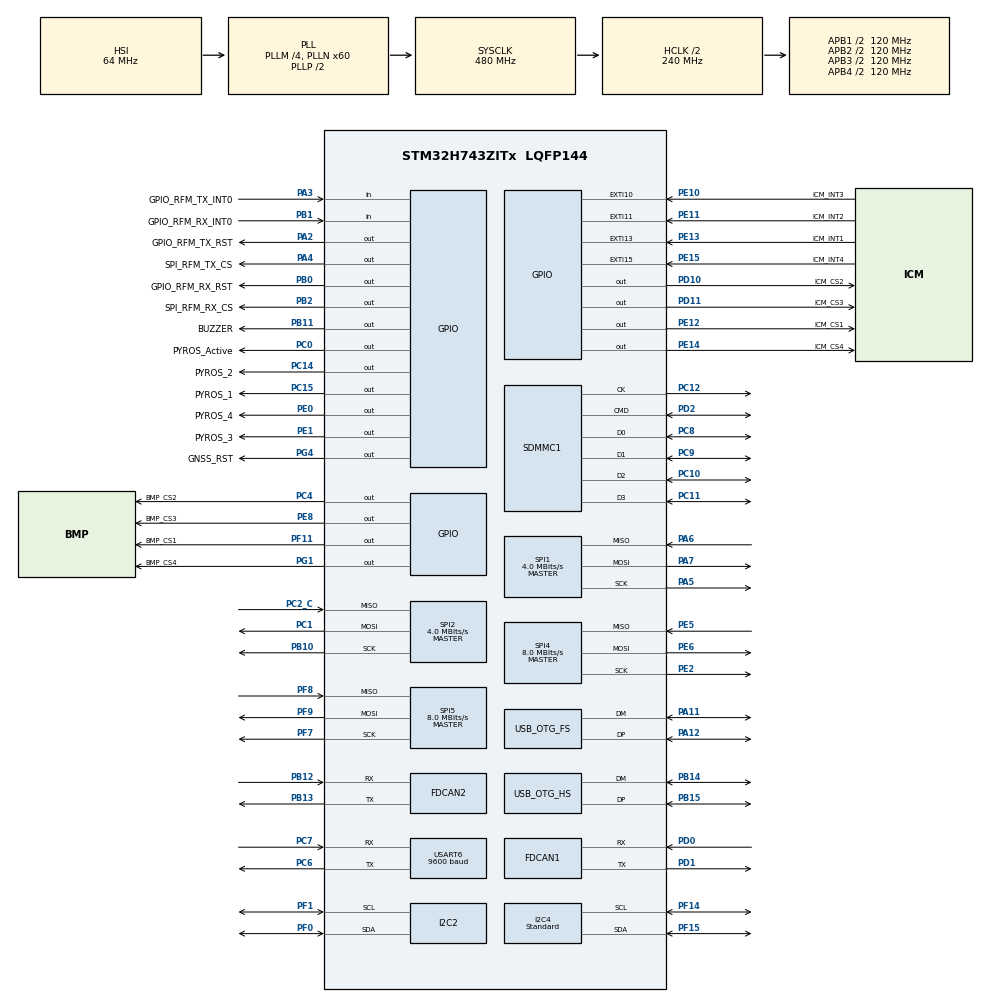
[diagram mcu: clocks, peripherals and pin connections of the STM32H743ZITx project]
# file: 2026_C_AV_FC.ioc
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CORTEX_M7.default_mode_Activation=1
FDCAN1.CalculateBaudRateNominal=500000
FDCAN1.CalculateTimeBitNominal=2000
FDCAN1.CalculateTimeQuantumNominal=62.5
FDCAN1.NominalPrescaler=1
FDCAN1.NominalTimeSeg1=23
FDCAN1.NominalTimeSeg2=8
FDCAN1.RxFifo0ElmtsNbr=16
FDCAN1.StdFiltersNbr=1
FDCAN1.TxFifoQueueElmtsNbr=32
FDCAN2.AutoRetransmission=ENABLE
FDCAN2.CalculateBaudRateNominal=500000
FDCAN2.CalculateTimeBitNominal=2000
FDCAN2.CalculateTimeQuantumNominal=125.0
FDCAN2.DataPrescaler=1
FDCAN2.DataSyncJumpWidth=1
FDCAN2.DataTimeSeg1=1
FDCAN2.DataTimeSeg2=1
FDCAN2.NominalPrescaler=2
FDCAN2.NominalSyncJumpWidth=3
FDCAN2.NominalTimeSeg1=12
FDCAN2.NominalTimeSeg2=3
FDCAN2.ProtocolException=ENABLE
FDCAN2.RxFifo0ElmtsNbr=8
FDCAN2.TxFifoQueueElmtsNbr=8
I2C2.Timing=0x307075B1
I2C4.I2C_Speed_Mode=I2C_Standard
I2C4.Timing=0x307075B1
Mcu.Family=STM32H7
Mcu.Name=STM32H743ZITx
Mcu.Package=LQFP144
NVIC.EXTI15_10_IRQn=true\:5\:0\:true\:false\:true\:true\:true\:true
NVIC.OTG_FS_IRQn=true\:0\:0\:false\:false\:true\:false\:true\:true
NVIC.OTG_HS_IRQn=true\:0\:0\:false\:false\:true\:false\:true\:true
NVIC.PriorityGroup=NVIC_PRIORITYGROUP_4
PA11.Mode=Device_Only
PA11.Signal=USB_OTG_FS_DM
PA12.Mode=Device_Only
PA12.Signal=USB_OTG_FS_DP
PA13\ (JTMS/SWDIO).Mode=Serial_Wire
PA13\ (JTMS/SWDIO).Signal=DEBUG_JTMS-SWDIO
PA14\ (JTCK/SWCLK).Mode=Serial_Wire
PA14\ (JTCK/SWCLK).Signal=DEBUG_JTCK-SWCLK
PA2.GPIO_Label=GPIO_RFM_TX_RST
PA2.PinState=GPIO_PIN_SET
PA2.Signal=GPIO_Output
PA3.GPIO_Label=GPIO_RFM_TX_INT0
PA3.Signal=GPIO_Input
PA4.GPIO_Label=SPI_RFM_TX_CS
PA4.PinState=GPIO_PIN_SET
PA4.Signal=GPIO_Output
PA5.Mode=Full_Duplex_Master
PA5.Signal=SPI1_SCK
PA6.Mode=Full_Duplex_Master
PA6.Signal=SPI1_MISO
PA7.Mode=Full_Duplex_Master
PA7.Signal=SPI1_MOSI
PB0.GPIO_Label=GPIO_RFM_RX_RST
PB0.PinState=GPIO_PIN_SET
PB0.Signal=GPIO_Output
PB1.GPIO_Label=GPIO_RFM_RX_INT0
PB1.Signal=GPIO_Input
PB10.Mode=Full_Duplex_Master
PB10.Signal=SPI2_SCK
PB11.GPIO_Label=BUZZER
PB11.Signal=GPIO_Output
PB12.Mode=FDCAN_Activate
PB12.Signal=FDCAN2_RX
PB13.Mode=FDCAN_Activate
PB13.Signal=FDCAN2_TX
PB14.Mode=Device_Only_FS
PB14.Signal=USB_OTG_HS_DM
PB15.Mode=Device_Only_FS
PB15.Signal=USB_OTG_HS_DP
PB2.GPIO_Label=SPI_RFM_RX_CS
PB2.PinState=GPIO_PIN_SET
PB2.Signal=GPIO_Output
PC0.GPIO_Label=PYROS_Active
PC0.GPIO_ModeDefaultOutputPP=GPIO_MODE_OUTPUT_PP
PC0.GPIO_PuPd=GPIO_PULLDOWN
PC0.Signal=GPIO_Output
PC1.Mode=Full_Duplex_Master
PC1.Signal=SPI2_MOSI
PC10.Mode=SD_4_bits_Wide_bus
PC10.Signal=SDMMC1_D2
PC11.Mode=SD_4_bits_Wide_bus
PC11.Signal=SDMMC1_D3
PC12.Mode=SD_4_bits_Wide_bus
PC12.Signal=SDMMC1_CK
PC14-OSC32_IN\ (OSC32_IN).GPIO_Label=PYROS_2
PC14-OSC32_IN\ (OSC32_IN).Signal=GPIO_Output
PC15-OSC32_OUT\ (OSC32_OUT).GPIO_Label=PYROS_1
PC15-OSC32_OUT\ (OSC32_OUT).Signal=GPIO_Output
PC2_C.Mode=Full_Duplex_Master
PC2_C.Signal=SPI2_MISO
PC4.GPIO_Label=BMP_CS2
PC4.PinState=GPIO_PIN_SET
PC4.Signal=GPIO_Output
PC6.Mode=Asynchronous
PC6.Signal=USART6_TX
PC7.Mode=Asynchronous
PC7.Signal=USART6_RX
PC8.Mode=SD_4_bits_Wide_bus
PC8.Signal=SDMMC1_D0
PC9.Mode=SD_4_bits_Wide_bus
PC9.Signal=SDMMC1_D1
PD0.Mode=FDCAN_Activate
PD0.Signal=FDCAN1_RX
PD1.Mode=FDCAN_Activate
PD1.Signal=FDCAN1_TX
PD10.GPIO_Label=ICM_CS2
PD10.PinState=GPIO_PIN_SET
PD10.Signal=GPIO_Output
PD11.GPIO_Label=ICM_CS3
PD11.PinState=GPIO_PIN_SET
PD11.Signal=GPIO_Output
PD2.Mode=SD_4_bits_Wide_bus
PD2.Signal=SDMMC1_CMD
PE0.GPIO_Label=PYROS_4
PE0.Signal=GPIO_Output
PE1.GPIO_Label=PYROS_3
PE1.Signal=GPIO_Output
PE10.GPIO_Label=ICM_INT3
PE10.Signal=GPXTI10
PE11.GPIO_Label=ICM_INT2
PE11.Signal=GPXTI11
PE12.GPIO_Label=ICM_CS1
PE12.PinState=GPIO_PIN_SET
PE12.Signal=GPIO_Output
PE13.GPIO_Label=ICM_INT1
PE13.Signal=GPXTI13
PE14.GPIO_Label=ICM_CS4
PE14.PinState=GPIO_PIN_SET
PE14.Signal=GPIO_Output
PE15.GPIO_Label=ICM_INT4
PE15.Signal=GPXTI15
PE2.Mode=Full_Duplex_Master
PE2.Signal=SPI4_SCK
PE5.Mode=Full_Duplex_Master
PE5.Signal=SPI4_MISO
PE6.Mode=Full_Duplex_Master
PE6.Signal=SPI4_MOSI
PE8.GPIO_Label=BMP_CS3
PE8.PinState=GPIO_PIN_SET
PE8.Signal=GPIO_Output
PF0.Mode=I2C
PF0.Signal=I2C2_SDA
PF1.Mode=I2C
PF1.Signal=I2C2_SCL
PF11.GPIO_Label=BMP_CS1
PF11.PinState=GPIO_PIN_SET
PF11.Signal=GPIO_Output
PF14.Mode=I2C
PF14.Signal=I2C4_SCL
PF15.Mode=I2C
PF15.Signal=I2C4_SDA
PF7.Mode=Full_Duplex_Master
PF7.Signal=SPI5_SCK
PF8.Mode=Full_Duplex_Master
PF8.Signal=SPI5_MISO
PF9.Mode=Full_Duplex_Master
PF9.Signal=SPI5_MOSI
PG1.GPIO_Label=BMP_CS4
PG1.PinState=GPIO_PIN_SET
PG1.Signal=GPIO_Output
PG4.GPIO_Label=GNSS_RST
PG4.PinState=GPIO_PIN_SET
PG4.Signal=GPIO_Output
ProjectManager.HeapSize=0x200
ProjectManager.StackSize=0x400
ProjectManager.TargetToolchain=STM32CubeIDE
RCC.ADCFreq_Value=128000000
RCC.APB1Freq_Value=120000000
RCC.APB2Freq_Value=120000000
RCC.APB3Freq_Value=120000000
RCC.APB4Freq_Value=120000000
RCC.CortexFreq_Value=480000000
RCC.D1PPRE=RCC_APB3_DIV2
RCC.D2PPRE1=RCC_APB1_DIV2
RCC.D2PPRE2=RCC_APB2_DIV2
RCC.D3PPRE=RCC_APB4_DIV2
RCC.DIVM1=4
RCC.DIVN1=60
RCC.DIVN2=128
RCC.DIVQ2=16
RCC.FDCANCLockSelection=RCC_FDCANCLKSOURCE_PLL2
RCC.HCLKFreq_Value=240000000
RCC.HPRE=RCC_HCLK_DIV2
RCC.PLL2FRACN=0
RCC.PLL3FRACN=0
RCC.PLLFRACN=0
RCC.SDMMC1CLockSelection=RCC_SDMMCCLKSOURCE_PLL2
RCC.SPI123CLockSelection=RCC_SPI123CLKSOURCE_CLKP
RCC.SYSCLKFreq_VALUE=480000000
RCC.SYSCLKSource=RCC_SYSCLKSOURCE_PLLCLK
RCC.Spi45ClockSelection=RCC_SPI45CLKSOURCE_HSI
RCC.USBCLockSelection=RCC_USBCLKSOURCE_HSI48
RCC.USBFreq_Value=48000000
SDMMC1.ClockDiv=4
SPI1.BaudRatePrescaler=SPI_BAUDRATEPRESCALER_16
SPI1.CalculateBaudRate=4.0 MBits/s
SPI1.DataSize=SPI_DATASIZE_8BIT
SPI1.Direction=SPI_DIRECTION_2LINES
SPI1.Mode=SPI_MODE_MASTER
SPI1.VirtualType=VM_MASTER
SPI2.BaudRatePrescaler=SPI_BAUDRATEPRESCALER_16
SPI2.CalculateBaudRate=4.0 MBits/s
SPI2.DataSize=SPI_DATASIZE_8BIT
SPI2.Direction=SPI_DIRECTION_2LINES
SPI2.Mode=SPI_MODE_MASTER
SPI2.VirtualType=VM_MASTER
SPI4.BaudRatePrescaler=SPI_BAUDRATEPRESCALER_8
SPI4.CalculateBaudRate=8.0 MBits/s
SPI4.DataSize=SPI_DATASIZE_8BIT
SPI4.Direction=SPI_DIRECTION_2LINES
SPI4.KeepIOState=SPI_MASTER_KEEP_IO_STATE_ENABLE
SPI4.Mode=SPI_MODE_MASTER
SPI4.VirtualType=VM_MASTER
SPI5.BaudRatePrescaler=SPI_BAUDRATEPRESCALER_8
SPI5.CalculateBaudRate=8.0 MBits/s
SPI5.DataSize=SPI_DATASIZE_8BIT
SPI5.Direction=SPI_DIRECTION_2LINES
SPI5.KeepIOState=SPI_MASTER_KEEP_IO_STATE_ENABLE
SPI5.Mode=SPI_MODE_MASTER
SPI5.VirtualType=VM_MASTER
USART6.BaudRate=9600
USART6.VirtualMode-Asynchronous=VM_ASYNC
USB_DEVICE.CLASS_NAME_FS=DFU
USB_DEVICE.CLASS_NAME_HS=CDC
USB_DEVICE.VirtualMode-CDC_HS=Cdc
USB_DEVICE.VirtualMode-DFU_FS=Dfu
USB_DEVICE.VirtualModeFS=Dfu_FS
USB_DEVICE.VirtualModeHS=Cdc_HS
USB_OTG_FS.VirtualMode=Device_Only
USB_OTG_HS.VirtualMode-Device_Only_FS=Device_Only_FS
VP_MEMORYMAP_VS_MEMORYMAP.Mode=CurAppReg
VP_USB_DEVICE_VS_USB_DEVICE_CDC_HS.Mode=CDC_HS
VP_USB_DEVICE_VS_USB_DEVICE_DFU_FS.Mode=DFU_FS
board=custom

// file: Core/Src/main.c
/* USER CODE BEGIN Header */
/**
  ******************************************************************************
  * @file           : main.c
  * @brief          : Main program body
  ******************************************************************************
  * @attention
  *
  * Copyright (c) 2026 STMicroelectronics.
  * All rights reserved.
  *
  * This software is licensed under terms that can be found in the LICENSE file
  * in the root directory of this software component.
  * If no LICENSE file comes with this software, it is provided AS-IS.
  *
  ******************************************************************************
  */
/* USER CODE END Header */
#include "main.h"
#include "usb_device.h"

/* USER CODE BEGIN Includes */
#include "usbd_cdc_if.h"
#include "../../Application/app_perf.h"
#include "../../Drivers/InvIMU/Tests/Hardware/imu_manual_test.h"
#include "../../Drivers/BMP390/Tests/Manual/bmp390_manual_test.h"
#include "../../Drivers/UBX_GPS/Tests/Hardware/gps_manual_test.h"
//#include "../../Drivers/Plume/Tests/Hardware/plume_manual_test.h"
#include "../../Application/Tests/sd_benchmark.h"
#include "../../Drivers/Buzzer/Tests/Hardware/buzzer_manual_test.h"
#include "../../Drivers/SX127X/Tests/Hardware/sx127x_manual_test.h"
#include "../../Drivers/SX127X/Tests/Hardware/sx127x_capsule_manual_test.h"
#include "../../Drivers/TMP1075/Tests/tmp1075_manual_test.h"
#include "../../Drivers/ADXL375/Tests/adxl375_manual_test.h"
#include "../../Application/Modules/sd_hardware_init.h"
#include "../../Application/FlightControl/prc_can.hpp"
#include "../../Application/main.h"
#include "../../Application/app_timebase.h"
#include "../../Application/app_printf.h"
#include "../../Application/usb_log.h"
#include "../../Application/System/bootloader.h"
#include "SX127X.h"
/* USER CODE END Includes */

/* USER CODE BEGIN PD */
/**
 * OUTPUT_LOG: Enables printf output via USB Virtual COM Port (CDC).
 * Comment out this define to disable ALL UART/USB printf output for flight.
 * When disabled, _write() is not defined and printf calls become no-ops
 * (or link to the default stub that discards output).
 */
#define OUTPUT_LOG

/**
 * APP_RADIO_ENABLE: runs simple_radio_tick() (telemetry downlink + uplink
 * commands) in the super loop. The radio driver no longer blocks the loop
 * during a transmission, so it can stay on during IMU acquisition.
 */
#ifndef APP_RADIO_ENABLE
#define APP_RADIO_ENABLE 1
#endif

/*  CAN bus test between 2026_C_AV_PRC and 2026_C_AV_FC (PD0=RX, PD1=TX on both boards).  */
#define CANBUS_TEST_TX_ID   0x101u   /*  FC -> PRC  */
#define CANBUS_TEST_RX_ID   0x100u   /*  PRC -> FC  */
/* USER CODE END PD */

FDCAN_HandleTypeDef hfdcan1;
FDCAN_HandleTypeDef hfdcan2;

I2C_HandleTypeDef hi2c2;
I2C_HandleTypeDef hi2c4;

SD_HandleTypeDef hsd1;

SPI_HandleTypeDef hspi1;
SPI_HandleTypeDef hspi2;
SPI_HandleTypeDef hspi4;
SPI_HandleTypeDef hspi5;

UART_HandleTypeDef huart6;

/* USER CODE BEGIN PV */
//static uint8_t flag = 0;
volatile static uint32_t status = 0;
//static uint8_t tab[255];
//static uint8_t addr = 0x08;
/* USER CODE END PV */

void SystemClock_Config(void);
void PeriphCommonClock_Config(void);
static void MPU_Config(void);
static void MX_GPIO_Init(void);
static void MX_SPI4_Init(void);
static void MX_SPI5_Init(void);
static void MX_USART6_UART_Init(void);
static void MX_SDMMC1_SD_Init(void);
static void MX_SPI2_Init(void);
static void MX_SPI1_Init(void);
static void MX_I2C4_Init(void);
static void MX_I2C2_Init(void);
static void MX_FDCAN1_Init(void);
static void MX_FDCAN2_Init(void);

/* USER CODE BEGIN 0 */
/* DMA audit for this board: SDMMC IDMA uses ONLY the first 32 KiB AXI bounce
 * region; GPS DMA1 uses the dedicated SRAM3 carve-out; USB DMA and SPI DMA
 * are disabled. The SD arena is CPU-only (copied into the IDMA bounce buffer).
 * Linker assertions pin the SD carve-out, so layout drift is a build error. */
static void board_configure_data_cache(void)
{
#if APP_ENABLE_DCACHE
  MPU_Region_InitTypeDef region = {0};
  HAL_MPU_Disable();
  region.Enable = MPU_REGION_ENABLE;
  region.Number = MPU_REGION_NUMBER1;
  region.BaseAddress = 0x24000000;
  region.Size = MPU_REGION_SIZE_512KB;
  region.AccessPermission = MPU_REGION_FULL_ACCESS;
  region.DisableExec = MPU_INSTRUCTION_ACCESS_DISABLE;
  region.TypeExtField = MPU_TEX_LEVEL1;
  region.IsShareable = MPU_ACCESS_NOT_SHAREABLE;
  region.IsCacheable = MPU_ACCESS_CACHEABLE;
  region.IsBufferable = MPU_ACCESS_BUFFERABLE;
  HAL_MPU_ConfigRegion(&region);

  /* Higher-numbered regions override the cached AXI region. TEX=1,C=B=0
   * is normal non-cacheable memory (not device memory: memcpy may unalign). */
  region.Number = MPU_REGION_NUMBER2;
  region.Size = MPU_REGION_SIZE_32KB;
  region.IsShareable = MPU_ACCESS_SHAREABLE;
  region.IsCacheable = MPU_ACCESS_NOT_CACHEABLE;
  region.IsBufferable = MPU_ACCESS_NOT_BUFFERABLE;
  HAL_MPU_ConfigRegion(&region);
  region.Number = MPU_REGION_NUMBER3;
  region.BaseAddress = 0x30000000;
#if APP_CACHE_SD_ARENA
  region.Size = MPU_REGION_SIZE_256KB;
  region.IsShareable = MPU_ACCESS_NOT_SHAREABLE;
  region.IsCacheable = MPU_ACCESS_CACHEABLE;
  region.IsBufferable = MPU_ACCESS_BUFFERABLE;
#else
  region.Size = MPU_REGION_SIZE_512KB;
#endif
  HAL_MPU_ConfigRegion(&region);
  /* GPS is the only DMA client in D2. Reserve all SRAM3 for non-cacheable
   * buffers, separate from the CPU-owned SD arena in SRAM1/2. */
  region.Number = MPU_REGION_NUMBER4;
  region.BaseAddress = 0x30040000;
  region.Size = MPU_REGION_SIZE_32KB;
  region.IsShareable = MPU_ACCESS_SHAREABLE;
  region.IsCacheable = MPU_ACCESS_NOT_CACHEABLE;
  region.IsBufferable = MPU_ACCESS_NOT_BUFFERABLE;
  HAL_MPU_ConfigRegion(&region);
  HAL_MPU_Enable(MPU_PRIVILEGED_DEFAULT);
  SCB_EnableDCache();
#endif
}

#ifdef OUTPUT_LOG
extern USBD_HandleTypeDef hUsbDeviceHS;

// USB output rules, HAL free in Application/usb_log.h: only to a configured
// host, at most 5 ms on a busy endpoint, then stalled and counting drops
// until USB_Log_ClearStall() (usbd_cdc_if.c: transfer complete, bytes
// received, new configuration). The next write that goes out first reports
// "[USB] dropped N lines". Logging must never stall the flight loop.
static UsbLog usb_log;

void USB_Log_ClearStall(void) {
    usb_log_clear_stall(&usb_log);
}

static int usb_log_transmit(const uint8_t *data, uint16_t length) {
    return CDC_Transmit_HS((uint8_t *)data, length) == USBD_BUSY;
}

int _write(int file, char *ptr, int len) {
    if (!app_printf_is_enabled()) return len;
    usb_log_write(&usb_log, ptr, len, hUsbDeviceHS.dev_state == USBD_STATE_CONFIGURED,
                  usb_log_transmit, HAL_GetTick);
    return len;
}
#else
// usbd_cdc_if.c calls this whatever OUTPUT_LOG says; with no USB log there
// is no stall to clear.
void USB_Log_ClearStall(void) {
}
#endif

void app_on_imu_exti(uint16_t gpio_pin);
void app_on_imu_spi_rx_complete(SPI_HandleTypeDef *hspi);

void HAL_GPIO_EXTI_Callback(uint16_t GPIO_Pin) {
  app_on_imu_exti(GPIO_Pin);
}

void HAL_SPI_RxCpltCallback(SPI_HandleTypeDef *hspi) {
  app_on_imu_spi_rx_complete(hspi);
}
/* USER CODE END 0 */

int main(void)
{

  /* USER CODE BEGIN 1 */
  Bootloader_CheckAndJump();

  /* USER CODE END 1 */

  /* MPU Configuration--------------------------------------------------------*/
  MPU_Config();

  /* MCU Configuration--------------------------------------------------------*/

  /* Reset of all peripherals, Initializes the Flash interface and the Systick. */
  HAL_Init();

  /* Configure the system clock */
  SystemClock_Config();

  /* Configure the peripherals common clocks */
  PeriphCommonClock_Config();

  /* USER CODE BEGIN SysInit */
  /* Instruction cache and the separately audited DMA-safe data policy. */
#ifndef APP_ENABLE_ICACHE
#define APP_ENABLE_ICACHE 1
#endif
#if APP_ENABLE_ICACHE
  SCB_EnableICache();
#endif
  board_configure_data_cache();
  /* USER CODE END SysInit */

  /* Initialize all configured peripherals */
  MX_GPIO_Init();
  MX_USB_DEVICE_Init();
  MX_SPI4_Init();
  MX_SPI5_Init();
  MX_USART6_UART_Init();
  sd_pre_init();
  MX_SDMMC1_SD_Init();
  sd_post_init(&hsd1);
  MX_SPI2_Init();
  MX_SPI1_Init();
  MX_I2C4_Init();
  MX_I2C2_Init();
  MX_FDCAN1_Init();
  MX_FDCAN2_Init();
  /* USER CODE BEGIN 2 */

  Fc_Can_Init(&hfdcan1); /* latch hfdcan1 for Fc_Can_SendMainValveCmd, see Application/FlightControl/prc_can.hpp */

  /* Small delay to let USB enumerate -- but drain (and discard) FIFO0 while
   * waiting instead of a blind HAL_Delay(5000). Just removing the delay
   * wasn't enough on its own: app_printf()/_write() used to block up to
   * 100 ms retrying CDC_Transmit_HS while USB wasn't ready yet, and every
   * reassembled CAN log line triggers a app_printf -- each one of those early
   * blocked calls froze this same loop's CAN drain for up to 100 ms,
   * during which frames from all 3 boards kept piling up. Draining and
   * discarding FIFO0 here (no app_printf involved) kept the FIFO empty
   * through the whole USB enumeration window. _write now returns at once
   * until the host has configured the port and waits at most 5 ms on a
   * busy endpoint (Application/usb_log.h), so that stall is gone. */
  /* TEMPORARY: disabled to test whether this 5s busy-wait (added for the
   * PRC-CAN work, doesn't exist on the known-working plume branch) is
   * delaying app_super_loop_setup()/iterate() long enough that IMU
   * interrupts/data haven't started flowing by the time kalman_loop()
   * first runs, tripping the zero-healthy-sources case in its Step 3
   * round-robin drain loop. */
  // {
  //   uint32_t usb_wait_start = HAL_GetTick();
  //   while (HAL_GetTick() - usb_wait_start < 5000)
  //   {
  //     FDCAN_RxHeaderTypeDef rxHeader;
  //     uint8_t rxData[8] = {0};
  //     while (HAL_FDCAN_GetRxFifoFillLevel(&hfdcan1, FDCAN_RX_FIFO0) > 0)
  //     {
  //       if (HAL_FDCAN_GetRxMessage(&hfdcan1, FDCAN_RX_FIFO0, &rxHeader, rxData) != HAL_OK)
  //       {
  //         break;
  //       }
  //     }
  //   }
  //   /* Clear any overflow flagged while deliberately discarding above --
  //    * nothing was being reassembled/printed yet, so it isn't meaningful,
  //    * and would otherwise show up as a spurious warning on the first real
  //    * loop iteration below. */
  //   __HAL_FDCAN_CLEAR_FLAG(&hfdcan1, FDCAN_FLAG_RX_FIFO0_MESSAGE_LOST);
  // }
  app_printf("USB on\r\n");
  app_printf("[FC] idle\r\n"); // one-shot: confirms the serial link works even before any CAN traffic or shell input arrives
  /* SPI2_MISO is on PC2_C (analog-direct dual pad). The digital path only works
   * with the PC2 analog switch closed. Force it closed so reads aren't dead. */
  //__HAL_RCC_SYSCFG_CLK_ENABLE();
  //HAL_SYSCFG_AnalogSwitchConfig(SYSCFG_SWITCH_PC2, SYSCFG_SWITCH_PC2_CLOSE);
  // sx127x_manual_test();
  //sx127x_capsule_manual_test();
  //TMP1075_ManualTest_Run();
  //ADXL375_ManualTest_Run();
  //manual_test_imu();  /* loops forever -- never returns, everything below this line won't run while active */
  //manual_test_buzzer();

  simple_radio_init();
  app_printf("Out of init.\n");

  app_printf("FDCAN clk=%lu\r\n", (unsigned long)HAL_RCCEx_GetPeriphCLKFreq(RCC_PERIPHCLK_FDCAN));  /* expect 16000000 */

  app_super_loop_setup();

  /* USER CODE END 2 */

  /* Infinite loop */
  while (1)
  {

    /* USER CODE BEGIN 3 */
	  //HAL_Delay(1000);
	  //app_printf("In tick.\n");
#if APP_RADIO_ENABLE
	  {
	    const uint64_t perf_t0 = app_perf_begin();
	    simple_radio_tick();
	    app_perf_end(APP_PERF_RADIO, perf_t0);
	  }
#endif
	  /*
	  	  app_printf("flag: %i\r\n", flag);
	  	  if (!flag) {
	  		  app_printf("Scanning the i2c: \r\n");
	  		  for (addr = 0x39; addr < 0x78; ++addr) {
	  			 status = HAL_I2C_IsDeviceReady(&hi2c2, addr << 1, 1, 10);
	  			  if ( status == HAL_OK) {
	  				  app_printf("Found device at 0x%02X\r\n", addr);
	  			  }
	  		  }
	  		  flag = 1;
	  		  app_printf("flag: %i\r\n", flag);
	  	  }
	  	  app_printf("loop\r\n");*/
	  //app_printf("In loop \r\n");
	  app_super_loop_iterate();

	  {
	    /*  Valve command test: ID=0x211, DLC=2, byte0 selects valve+action,
	     *  byte1 is a fixed magic byte. Cycles open Sol1 -> open Sol2 ->
	     *  close Sol1 -> close Sol2 -> repeat, one step every 5 s. Left here
	     *  (disabled) for manual bench testing; superseded by real telemetry
	     *  decode below -- TX to PRC isn't wired up for real commands yet,
	     *  see Application/FlightControl/prc_can.hpp.
	    static const uint8_t kValveCmdSequence[] = { 0xA1, 0xB1, 0xA0, 0xB0 };
	    static uint8_t step = 0;
	    static uint32_t lastSendTick = 0;
	    const uint32_t kSendPeriodMs = 5000;

	    if (HAL_GetTick() - lastSendTick >= kSendPeriodMs)
	    {
	      lastSendTick = HAL_GetTick();

	      FDCAN_TxHeaderTypeDef txHeader;
	      txHeader.Identifier          = 0x211;
	      txHeader.IdType              = FDCAN_STANDARD_ID;
	      txHeader.TxFrameType         = FDCAN_DATA_FRAME;
	      txHeader.DataLength          = FDCAN_DLC_BYTES_2;
	      txHeader.ErrorStateIndicator = FDCAN_ESI_ACTIVE;
	      txHeader.BitRateSwitch       = FDCAN_BRS_OFF;
	      txHeader.FDFormat            = FDCAN_CLASSIC_CAN;
	      txHeader.TxEventFifoControl  = FDCAN_NO_TX_EVENTS;
	      txHeader.MessageMarker       = 0;

	      const uint8_t cmdByte = kValveCmdSequence[step];
	      const uint8_t magicByte = 0xF1;

	      //  HAL_FDCAN_AddMessageToTxFifoQ always word-copies 4 bytes regardless
	      //  of DataLength, so the buffer must be padded to a 4-byte boundary
	      //  even though only 2 bytes are actually put on the wire (per DLC).
	      uint8_t txData[4] = { cmdByte, magicByte, 0, 0 };
	      if (HAL_FDCAN_AddMessageToTxFifoQ(&hfdcan1, &txHeader, txData) == HAL_OK)
	      {
	        app_printf("[CAN] TX id=0x211 data=[0x%02X,0x%02X]\r\n", cmdByte, magicByte);
	        step = (step + 1) % (sizeof(kValveCmdSequence) / sizeof(kValveCmdSequence[0]));
	      }
	      else
	      {
	        app_printf("[CAN] TX failed\r\n");
	      }
	    }
	    */

	    /*  Drain the whole FIFO each iteration -- popping only one message
	     *  per loop let the queue back up (self-reception + peer traffic
	     *  arriving faster than we drained it), so we kept reading stale
	     *  entries instead of the newest one. Each frame is decoded via
	     *  prc_intranet (see Application/FlightControl/prc_can.cpp); ids it
	     *  doesn't recognize are silently ignored. */
	    const uint64_t perf_can_t0 = app_perf_begin();
	    while (HAL_FDCAN_GetRxFifoFillLevel(&hfdcan1, FDCAN_RX_FIFO0) > 0)
	    {
	      FDCAN_RxHeaderTypeDef rxHeader;
	      uint8_t rxData[8] = {0};
	      if (HAL_FDCAN_GetRxMessage(&hfdcan1, FDCAN_RX_FIFO0, &rxHeader, rxData) == HAL_OK)
	      {
	        Fc_Can_ProcessRxMessage(rxHeader.Identifier, rxData, rxHeader.DataLength);
	      }
	      else
	      {
	        break;
	      }
	    }

	    /*  RF0L (Rx FIFO 0 Message Lost) latches in hardware whenever FIFO0
	     *  was full and a frame got rejected (blocking mode) instead of
	     *  silently overwriting an unread one. This is the only way to know
	     *  the 16-element FIFO is still not enough margin for the current
	     *  bus load -- without it, an overflow would go completely unnoticed
	     *  again, same as the original overwrite-mode bug. */
	    if (__HAL_FDCAN_GET_FLAG(&hfdcan1, FDCAN_FLAG_RX_FIFO0_MESSAGE_LOST))
	    {
	      __HAL_FDCAN_CLEAR_FLAG(&hfdcan1, FDCAN_FLAG_RX_FIFO0_MESSAGE_LOST);
	      static uint32_t rf0l_count = 0;
	      rf0l_count++;
	      app_printf("[CAN] WARNING: RX FIFO0 overflow, frame(s) rejected (count=%lu)\r\n",
	             (unsigned long)rf0l_count);
	    }
	    app_perf_end(APP_PERF_CAN, perf_can_t0);

	  }

	  //app_printf("Pyros Test \r\n");
	  //HAL_GPIO_TogglePin(GPIOC, GPIO_PIN_14);
	  //HAL_GPIO_TogglePin(GPIOC, GPIO_PIN_15);
	  //HAL_GPIO_TogglePin(GPIOE, GPIO_PIN_0);
	  //HAL_GPIO_TogglePin(GPIOE, GPIO_PIN_1);
	  //app_printf("End\r\n");
  }
  /* USER CODE END 3 */
}

void SystemClock_Config(void)
{
  RCC_OscInitTypeDef RCC_OscInitStruct = {0};
  RCC_ClkInitTypeDef RCC_ClkInitStruct = {0};

  /** Supply configuration update enable
  */
  HAL_PWREx_ConfigSupply(PWR_LDO_SUPPLY);

  /** Configure the main internal regulator output voltage
  */
  __HAL_PWR_VOLTAGESCALING_CONFIG(PWR_REGULATOR_VOLTAGE_SCALE0);

  while(!__HAL_PWR_GET_FLAG(PWR_FLAG_VOSRDY)) {}

  /** Initializes the RCC Oscillators according to the specified parameters
  * in the RCC_OscInitTypeDef structure.
  */
  RCC_OscInitStruct.OscillatorType = RCC_OSCILLATORTYPE_HSI48|RCC_OSCILLATORTYPE_HSI;
  RCC_OscInitStruct.HSIState = RCC_HSI_DIV1;
  RCC_OscInitStruct.HSICalibrationValue = RCC_HSICALIBRATION_DEFAULT;
  RCC_OscInitStruct.HSI48State = RCC_HSI48_ON;
  RCC_OscInitStruct.PLL.PLLState = RCC_PLL_ON;
  RCC_OscInitStruct.PLL.PLLSource = RCC_PLLSOURCE_HSI;
  RCC_OscInitStruct.PLL.PLLM = 4;
  RCC_OscInitStruct.PLL.PLLN = 60;
  RCC_OscInitStruct.PLL.PLLP = 2;
  RCC_OscInitStruct.PLL.PLLQ = 2;
  RCC_OscInitStruct.PLL.PLLR = 2;
  RCC_OscInitStruct.PLL.PLLRGE = RCC_PLL1VCIRANGE_3;
  RCC_OscInitStruct.PLL.PLLVCOSEL = RCC_PLL1VCOWIDE;
  RCC_OscInitStruct.PLL.PLLFRACN = 0;
  if (HAL_RCC_OscConfig(&RCC_OscInitStruct) != HAL_OK)
  {
    Error_Handler();
  }

  /** Initializes the CPU, AHB and APB buses clocks
  */
  RCC_ClkInitStruct.ClockType = RCC_CLOCKTYPE_HCLK|RCC_CLOCKTYPE_SYSCLK
                              |RCC_CLOCKTYPE_PCLK1|RCC_CLOCKTYPE_PCLK2
                              |RCC_CLOCKTYPE_D3PCLK1|RCC_CLOCKTYPE_D1PCLK1;
  RCC_ClkInitStruct.SYSCLKSource = RCC_SYSCLKSOURCE_PLLCLK;
  RCC_ClkInitStruct.SYSCLKDivider = RCC_SYSCLK_DIV1;
  RCC_ClkInitStruct.AHBCLKDivider = RCC_HCLK_DIV2;
  RCC_ClkInitStruct.APB3CLKDivider = RCC_APB3_DIV2;
  RCC_ClkInitStruct.APB1CLKDivider = RCC_APB1_DIV2;
  RCC_ClkInitStruct.APB2CLKDivider = RCC_APB2_DIV2;
  RCC_ClkInitStruct.APB4CLKDivider = RCC_APB4_DIV2;

  if (HAL_RCC_ClockConfig(&RCC_ClkInitStruct, FLASH_LATENCY_4) != HAL_OK)
  {
    Error_Handler();
  }
}

void PeriphCommonClock_Config(void)
{
  RCC_PeriphCLKInitTypeDef PeriphClkInitStruct = {0};

  /** Initializes the peripherals clock
  */
  PeriphClkInitStruct.PeriphClockSelection = RCC_PERIPHCLK_SDMMC|RCC_PERIPHCLK_FDCAN
                              |RCC_PERIPHCLK_CKPER;
  PeriphClkInitStruct.PLL2.PLL2M = 32;
  PeriphClkInitStruct.PLL2.PLL2N = 128;
  PeriphClkInitStruct.PLL2.PLL2P = 2;
  PeriphClkInitStruct.PLL2.PLL2Q = 16;
  PeriphClkInitStruct.PLL2.PLL2R = 2;
  PeriphClkInitStruct.PLL2.PLL2RGE = RCC_PLL2VCIRANGE_1;
  PeriphClkInitStruct.PLL2.PLL2VCOSEL = RCC_PLL2VCOWIDE;
  PeriphClkInitStruct.PLL2.PLL2FRACN = 0;
  PeriphClkInitStruct.SdmmcClockSelection = RCC_SDMMCCLKSOURCE_PLL2;
  PeriphClkInitStruct.CkperClockSelection = RCC_CLKPSOURCE_HSI;
  PeriphClkInitStruct.FdcanClockSelection = RCC_FDCANCLKSOURCE_PLL2;
  if (HAL_RCCEx_PeriphCLKConfig(&PeriphClkInitStruct) != HAL_OK)
  {
    Error_Handler();
  }
}

static void MX_FDCAN1_Init(void)
{

  hfdcan1.Instance = FDCAN1;
  hfdcan1.Init.FrameFormat = FDCAN_FRAME_CLASSIC;
  hfdcan1.Init.Mode = FDCAN_MODE_NORMAL;
  hfdcan1.Init.AutoRetransmission = ENABLE;
  hfdcan1.Init.TransmitPause = DISABLE;
  hfdcan1.Init.ProtocolException = DISABLE;
  hfdcan1.Init.NominalPrescaler = 1;
  hfdcan1.Init.NominalSyncJumpWidth = 1;
  hfdcan1.Init.NominalTimeSeg1 = 23;
  hfdcan1.Init.NominalTimeSeg2 = 8;
  hfdcan1.Init.DataPrescaler = 1;
  hfdcan1.Init.DataSyncJumpWidth = 1;
  hfdcan1.Init.DataTimeSeg1 = 1;
  hfdcan1.Init.DataTimeSeg2 = 1;
  hfdcan1.Init.MessageRAMOffset = 0;
  hfdcan1.Init.StdFiltersNbr = 1;
  hfdcan1.Init.ExtFiltersNbr = 0;
  hfdcan1.Init.RxFifo0ElmtsNbr = 64;
  hfdcan1.Init.RxFifo0ElmtSize = FDCAN_DATA_BYTES_8;
  hfdcan1.Init.RxFifo1ElmtsNbr = 0;
  hfdcan1.Init.RxFifo1ElmtSize = FDCAN_DATA_BYTES_8;
  hfdcan1.Init.RxBuffersNbr = 0;
  hfdcan1.Init.RxBufferSize = FDCAN_DATA_BYTES_8;
  hfdcan1.Init.TxEventsNbr = 0;
  hfdcan1.Init.TxBuffersNbr = 0;
  hfdcan1.Init.TxFifoQueueElmtsNbr = 32;
  hfdcan1.Init.TxFifoQueueMode = FDCAN_TX_FIFO_OPERATION;
  hfdcan1.Init.TxElmtSize = FDCAN_DATA_BYTES_8;
  if (HAL_FDCAN_Init(&hfdcan1) != HAL_OK)
  {
    Error_Handler();
  }
  /* USER CODE BEGIN FDCAN1_Init 2 */

  FDCAN_FilterTypeDef canFilter;
  canFilter.IdType       = FDCAN_STANDARD_ID;
  canFilter.FilterIndex  = 0;
  canFilter.FilterType   = FDCAN_FILTER_MASK;
  canFilter.FilterConfig = FDCAN_FILTER_TO_RXFIFO0;
  /* Was an exact-match filter for the CANBUS_TEST_RX_ID loopback test.
   * Widened to accept every standard id: FC needs to hear from all PRC
   * nodes (DPR_ETH, DPR_LOX, engine PRC), whose ids don't share a common
   * prefix a single mask filter could select. prc_intranet's
   * dispatch_frame() (see Application/FlightControl/prc_can.cpp) already
   * silently ignores any id it doesn't recognize, same as PRC's own
   * per-node filter relies on software to sort out message identity. */
  canFilter.FilterID1    = 0x000;
  canFilter.FilterID2    = 0x000;  /* mask: 0 = accept every standard id */
  if (HAL_FDCAN_ConfigFilter(&hfdcan1, &canFilter) != HAL_OK)
  {
    Error_Handler();
  }
  if (HAL_FDCAN_ConfigGlobalFilter(&hfdcan1, FDCAN_REJECT, FDCAN_REJECT, FDCAN_FILTER_REMOTE, FDCAN_FILTER_REMOTE) != HAL_OK)
  {
    Error_Handler();
  }
  /* Reject new frames once FIFO0 is full instead of silently overwriting
   * unread ones. Blocking mode makes overflow visible (GetRxMessage/AddMessage
   * failures) instead of silently corrupting reassembled log lines. */
  if (HAL_FDCAN_ConfigRxFifoOverwrite(&hfdcan1, FDCAN_RX_FIFO0, FDCAN_RX_FIFO_BLOCKING) != HAL_OK)
  {
    Error_Handler();
  }
  if (HAL_FDCAN_Start(&hfdcan1) != HAL_OK)
  {
    Error_Handler();
  }

  /* USER CODE END FDCAN1_Init 2 */

}

static void MX_FDCAN2_Init(void)
{

  hfdcan2.Instance = FDCAN2;
  hfdcan2.Init.FrameFormat = FDCAN_FRAME_CLASSIC;
  hfdcan2.Init.Mode = FDCAN_MODE_NORMAL;
  hfdcan2.Init.AutoRetransmission = ENABLE;
  hfdcan2.Init.TransmitPause = DISABLE;
  hfdcan2.Init.ProtocolException = ENABLE;
  hfdcan2.Init.NominalPrescaler = 2;
  hfdcan2.Init.NominalSyncJumpWidth = 3;
  hfdcan2.Init.NominalTimeSeg1 = 12;
  hfdcan2.Init.NominalTimeSeg2 = 3;
  hfdcan2.Init.DataPrescaler = 1;
  hfdcan2.Init.DataSyncJumpWidth = 1;
  hfdcan2.Init.DataTimeSeg1 = 1;
  hfdcan2.Init.DataTimeSeg2 = 1;
  hfdcan2.Init.MessageRAMOffset = 385;
  hfdcan2.Init.StdFiltersNbr = 0;
  hfdcan2.Init.ExtFiltersNbr = 0;
  hfdcan2.Init.RxFifo0ElmtsNbr = 8;
  hfdcan2.Init.RxFifo0ElmtSize = FDCAN_DATA_BYTES_8;
  hfdcan2.Init.RxFifo1ElmtsNbr = 0;
  hfdcan2.Init.RxFifo1ElmtSize = FDCAN_DATA_BYTES_8;
  hfdcan2.Init.RxBuffersNbr = 0;
  hfdcan2.Init.RxBufferSize = FDCAN_DATA_BYTES_8;
  hfdcan2.Init.TxEventsNbr = 0;
  hfdcan2.Init.TxBuffersNbr = 0;
  hfdcan2.Init.TxFifoQueueElmtsNbr = 8;
  hfdcan2.Init.TxFifoQueueMode = FDCAN_TX_FIFO_OPERATION;
  hfdcan2.Init.TxElmtSize = FDCAN_DATA_BYTES_8;
  if (HAL_FDCAN_Init(&hfdcan2) != HAL_OK)
  {
    Error_Handler();
  }
  /* USER CODE BEGIN FDCAN2_Init 2 */
  /* Route all non-matching messages to RX FIFO 0 */
  HAL_FDCAN_ConfigGlobalFilter(
    &hfdcan2,
    FDCAN_ACCEPT_IN_RX_FIFO0, // Non-matching Standard ID
    FDCAN_ACCEPT_IN_RX_FIFO0, // Non-matching Extended ID
    FDCAN_REJECT_REMOTE,      // Reject remote frames
    FDCAN_REJECT_REMOTE);     // Reject remote frames

  if (HAL_FDCAN_Start(&hfdcan2) != HAL_OK) {
    Error_Handler();
  }
  /* USER CODE END FDCAN2_Init 2 */

}

static void MX_I2C2_Init(void)
{

  hi2c2.Instance = I2C2;
  hi2c2.Init.Timing = 0x307075B1;
  hi2c2.Init.OwnAddress1 = 0;
  hi2c2.Init.AddressingMode = I2C_ADDRESSINGMODE_7BIT;
  hi2c2.Init.DualAddressMode = I2C_DUALADDRESS_DISABLE;
  hi2c2.Init.OwnAddress2 = 0;
  hi2c2.Init.OwnAddress2Masks = I2C_OA2_NOMASK;
  hi2c2.Init.GeneralCallMode = I2C_GENERALCALL_DISABLE;
  hi2c2.Init.NoStretchMode = I2C_NOSTRETCH_DISABLE;
  if (HAL_I2C_Init(&hi2c2) != HAL_OK)
  {
    Error_Handler();
  }

  /** Configure Analogue filter
  */
  if (HAL_I2CEx_ConfigAnalogFilter(&hi2c2, I2C_ANALOGFILTER_ENABLE) != HAL_OK)
  {
    Error_Handler();
  }

  /** Configure Digital filter
  */
  if (HAL_I2CEx_ConfigDigitalFilter(&hi2c2, 0) != HAL_OK)
  {
    Error_Handler();
  }

}

static void MX_I2C4_Init(void)
{

  hi2c4.Instance = I2C4;
  hi2c4.Init.Timing = 0x307075B1;
  hi2c4.Init.OwnAddress1 = 0;
  hi2c4.Init.AddressingMode = I2C_ADDRESSINGMODE_7BIT;
  hi2c4.Init.DualAddressMode = I2C_DUALADDRESS_DISABLE;
  hi2c4.Init.OwnAddress2 = 0;
  hi2c4.Init.OwnAddress2Masks = I2C_OA2_NOMASK;
  hi2c4.Init.GeneralCallMode = I2C_GENERALCALL_DISABLE;
  hi2c4.Init.NoStretchMode = I2C_NOSTRETCH_DISABLE;
  if (HAL_I2C_Init(&hi2c4) != HAL_OK)
  {
    Error_Handler();
  }

  /** Configure Analogue filter
  */
  if (HAL_I2CEx_ConfigAnalogFilter(&hi2c4, I2C_ANALOGFILTER_ENABLE) != HAL_OK)
  {
    Error_Handler();
  }

  /** Configure Digital filter
  */
  if (HAL_I2CEx_ConfigDigitalFilter(&hi2c4, 0) != HAL_OK)
  {
    Error_Handler();
  }

}

static void MX_SDMMC1_SD_Init(void)
{

  hsd1.Instance = SDMMC1;
  hsd1.Init.ClockEdge = SDMMC_CLOCK_EDGE_RISING;
  hsd1.Init.ClockPowerSave = SDMMC_CLOCK_POWER_SAVE_DISABLE;
  hsd1.Init.BusWide = SDMMC_BUS_WIDE_4B;
  hsd1.Init.HardwareFlowControl = SDMMC_HARDWARE_FLOW_CONTROL_DISABLE;
  hsd1.Init.ClockDiv = 4;
  if (HAL_SD_Init(&hsd1) != HAL_OK)
  {
    Error_Handler();
  }

}

static void MX_SPI1_Init(void)
{

  /* SPI1 parameter configuration*/
  hspi1.Instance = SPI1;
  hspi1.Init.Mode = SPI_MODE_MASTER;
  hspi1.Init.Direction = SPI_DIRECTION_2LINES;
  hspi1.Init.DataSize = SPI_DATASIZE_8BIT;
  hspi1.Init.CLKPolarity = SPI_POLARITY_LOW;
  hspi1.Init.CLKPhase = SPI_PHASE_1EDGE;
  hspi1.Init.NSS = SPI_NSS_SOFT;
  hspi1.Init.BaudRatePrescaler = SPI_BAUDRATEPRESCALER_16;
  hspi1.Init.FirstBit = SPI_FIRSTBIT_MSB;
  hspi1.Init.TIMode = SPI_TIMODE_DISABLE;
  hspi1.Init.CRCCalculation = SPI_CRCCALCULATION_DISABLE;
  hspi1.Init.CRCPolynomial = 0x0;
  hspi1.Init.NSSPMode = SPI_NSS_PULSE_ENABLE;
  hspi1.Init.NSSPolarity = SPI_NSS_POLARITY_LOW;
  hspi1.Init.FifoThreshold = SPI_FIFO_THRESHOLD_01DATA;
  hspi1.Init.TxCRCInitializationPattern = SPI_CRC_INITIALIZATION_ALL_ZERO_PATTERN;
  hspi1.Init.RxCRCInitializationPattern = SPI_CRC_INITIALIZATION_ALL_ZERO_PATTERN;
  hspi1.Init.MasterSSIdleness = SPI_MASTER_SS_IDLENESS_00CYCLE;
  hspi1.Init.MasterInterDataIdleness = SPI_MASTER_INTERDATA_IDLENESS_00CYCLE;
  hspi1.Init.MasterReceiverAutoSusp = SPI_MASTER_RX_AUTOSUSP_DISABLE;
  hspi1.Init.MasterKeepIOState = SPI_MASTER_KEEP_IO_STATE_DISABLE;
  hspi1.Init.IOSwap = SPI_IO_SWAP_DISABLE;
  if (HAL_SPI_Init(&hspi1) != HAL_OK)
  {
    Error_Handler();
  }

}

static void MX_SPI2_Init(void)
{

  /* SPI2 parameter configuration*/
  hspi2.Instance = SPI2;
  hspi2.Init.Mode = SPI_MODE_MASTER;
  hspi2.Init.Direction = SPI_DIRECTION_2LINES;
  hspi2.Init.DataSize = SPI_DATASIZE_8BIT;
  hspi2.Init.CLKPolarity = SPI_POLARITY_LOW;
  hspi2.Init.CLKPhase = SPI_PHASE_1EDGE;
  hspi2.Init.NSS = SPI_NSS_SOFT;
  hspi2.Init.BaudRatePrescaler = SPI_BAUDRATEPRESCALER_16;
  hspi2.Init.FirstBit = SPI_FIRSTBIT_MSB;
  hspi2.Init.TIMode = SPI_TIMODE_DISABLE;
  hspi2.Init.CRCCalculation = SPI_CRCCALCULATION_DISABLE;
  hspi2.Init.CRCPolynomial = 0x0;
  hspi2.Init.NSSPMode = SPI_NSS_PULSE_ENABLE;
  hspi2.Init.NSSPolarity = SPI_NSS_POLARITY_LOW;
  hspi2.Init.FifoThreshold = SPI_FIFO_THRESHOLD_01DATA;
  hspi2.Init.TxCRCInitializationPattern = SPI_CRC_INITIALIZATION_ALL_ZERO_PATTERN;
  hspi2.Init.RxCRCInitializationPattern = SPI_CRC_INITIALIZATION_ALL_ZERO_PATTERN;
  hspi2.Init.MasterSSIdleness = SPI_MASTER_SS_IDLENESS_00CYCLE;
  hspi2.Init.MasterInterDataIdleness = SPI_MASTER_INTERDATA_IDLENESS_00CYCLE;
  hspi2.Init.MasterReceiverAutoSusp = SPI_MASTER_RX_AUTOSUSP_DISABLE;
  hspi2.Init.MasterKeepIOState = SPI_MASTER_KEEP_IO_STATE_DISABLE;
  hspi2.Init.IOSwap = SPI_IO_SWAP_DISABLE;
  if (HAL_SPI_Init(&hspi2) != HAL_OK)
  {
    Error_Handler();
  }

}

static void MX_SPI4_Init(void)
{

  /* SPI4 parameter configuration*/
  hspi4.Instance = SPI4;
  hspi4.Init.Mode = SPI_MODE_MASTER;
  hspi4.Init.Direction = SPI_DIRECTION_2LINES;
  hspi4.Init.DataSize = SPI_DATASIZE_8BIT;
  hspi4.Init.CLKPolarity = SPI_POLARITY_LOW;
  hspi4.Init.CLKPhase = SPI_PHASE_1EDGE;
  hspi4.Init.NSS = SPI_NSS_SOFT;
  /* SPI4/5 share the IMUs and BMP390s. HSI=64 MHz; /8 gives
   * 8 MHz, below the BMP390's 10 MHz and IMU's 24 MHz limits. */
  hspi4.Init.BaudRatePrescaler = SPI_BAUDRATEPRESCALER_8;
  hspi4.Init.FirstBit = SPI_FIRSTBIT_MSB;
  hspi4.Init.TIMode = SPI_TIMODE_DISABLE;
  hspi4.Init.CRCCalculation = SPI_CRCCALCULATION_DISABLE;
  hspi4.Init.CRCPolynomial = 0x0;
  hspi4.Init.NSSPMode = SPI_NSS_PULSE_ENABLE;
  hspi4.Init.NSSPolarity = SPI_NSS_POLARITY_LOW;
  hspi4.Init.FifoThreshold = SPI_FIFO_THRESHOLD_01DATA;
  hspi4.Init.TxCRCInitializationPattern = SPI_CRC_INITIALIZATION_ALL_ZERO_PATTERN;
  hspi4.Init.RxCRCInitializationPattern = SPI_CRC_INITIALIZATION_ALL_ZERO_PATTERN;
  hspi4.Init.MasterSSIdleness = SPI_MASTER_SS_IDLENESS_00CYCLE;
  hspi4.Init.MasterInterDataIdleness = SPI_MASTER_INTERDATA_IDLENESS_00CYCLE;
  hspi4.Init.MasterReceiverAutoSusp = SPI_MASTER_RX_AUTOSUSP_DISABLE;
  hspi4.Init.MasterKeepIOState = SPI_MASTER_KEEP_IO_STATE_ENABLE;
  hspi4.Init.IOSwap = SPI_IO_SWAP_DISABLE;
  if (HAL_SPI_Init(&hspi4) != HAL_OK)
  {
    Error_Handler();
  }

}

static void MX_SPI5_Init(void)
{

  /* SPI5 parameter configuration*/
  hspi5.Instance = SPI5;
  hspi5.Init.Mode = SPI_MODE_MASTER;
  hspi5.Init.Direction = SPI_DIRECTION_2LINES;
  hspi5.Init.DataSize = SPI_DATASIZE_8BIT;
  hspi5.Init.CLKPolarity = SPI_POLARITY_LOW;
  hspi5.Init.CLKPhase = SPI_PHASE_1EDGE;
  hspi5.Init.NSS = SPI_NSS_SOFT;
  hspi5.Init.BaudRatePrescaler = SPI_BAUDRATEPRESCALER_8;
  hspi5.Init.FirstBit = SPI_FIRSTBIT_MSB;
  hspi5.Init.TIMode = SPI_TIMODE_DISABLE;
  hspi5.Init.CRCCalculation = SPI_CRCCALCULATION_DISABLE;
  hspi5.Init.CRCPolynomial = 0x0;
  hspi5.Init.NSSPMode = SPI_NSS_PULSE_ENABLE;
  hspi5.Init.NSSPolarity = SPI_NSS_POLARITY_LOW;
  hspi5.Init.FifoThreshold = SPI_FIFO_THRESHOLD_01DATA;
  hspi5.Init.TxCRCInitializationPattern = SPI_CRC_INITIALIZATION_ALL_ZERO_PATTERN;
  hspi5.Init.RxCRCInitializationPattern = SPI_CRC_INITIALIZATION_ALL_ZERO_PATTERN;
  hspi5.Init.MasterSSIdleness = SPI_MASTER_SS_IDLENESS_00CYCLE;
  hspi5.Init.MasterInterDataIdleness = SPI_MASTER_INTERDATA_IDLENESS_00CYCLE;
  hspi5.Init.MasterReceiverAutoSusp = SPI_MASTER_RX_AUTOSUSP_DISABLE;
  hspi5.Init.MasterKeepIOState = SPI_MASTER_KEEP_IO_STATE_ENABLE;
  hspi5.Init.IOSwap = SPI_IO_SWAP_DISABLE;
  if (HAL_SPI_Init(&hspi5) != HAL_OK)
  {
    Error_Handler();
  }

}

static void MX_USART6_UART_Init(void)
{

  huart6.Instance = USART6;
  huart6.Init.BaudRate = 9600;
  huart6.Init.WordLength = UART_WORDLENGTH_8B;
  huart6.Init.StopBits = UART_STOPBITS_1;
  huart6.Init.Parity = UART_PARITY_NONE;
  huart6.Init.Mode = UART_MODE_TX_RX;
  huart6.Init.HwFlowCtl = UART_HWCONTROL_NONE;
  huart6.Init.OverSampling = UART_OVERSAMPLING_16;
  huart6.Init.OneBitSampling = UART_ONE_BIT_SAMPLE_DISABLE;
  huart6.Init.ClockPrescaler = UART_PRESCALER_DIV1;
  huart6.AdvancedInit.AdvFeatureInit = UART_ADVFEATURE_NO_INIT;
  if (HAL_UART_Init(&huart6) != HAL_OK)
  {
    Error_Handler();
  }
  if (HAL_UARTEx_SetTxFifoThreshold(&huart6, UART_TXFIFO_THRESHOLD_1_8) != HAL_OK)
  {
    Error_Handler();
  }
  if (HAL_UARTEx_SetRxFifoThreshold(&huart6, UART_RXFIFO_THRESHOLD_1_8) != HAL_OK)
  {
    Error_Handler();
  }
  if (HAL_UARTEx_DisableFifoMode(&huart6) != HAL_OK)
  {
    Error_Handler();
  }

}

static void MX_GPIO_Init(void)
{
  GPIO_InitTypeDef GPIO_InitStruct = {0};

  /* GPIO Ports Clock Enable */
  __HAL_RCC_GPIOE_CLK_ENABLE();
  __HAL_RCC_GPIOC_CLK_ENABLE();
  __HAL_RCC_GPIOF_CLK_ENABLE();
  __HAL_RCC_GPIOA_CLK_ENABLE();
  __HAL_RCC_GPIOB_CLK_ENABLE();
  __HAL_RCC_GPIOG_CLK_ENABLE();
  __HAL_RCC_GPIOD_CLK_ENABLE();

  /*Configure GPIO pin Output Level */
  HAL_GPIO_WritePin(GPIOC, PYROS_2_Pin|PYROS_1_Pin|PYROS_Active_Pin, GPIO_PIN_RESET);
  HAL_GPIO_WritePin(BMP_CS2_GPIO_Port, BMP_CS2_Pin, GPIO_PIN_SET);

  /*Configure GPIO pin Output Level */
  HAL_GPIO_WritePin(GPIO_RFM_TX_RST_GPIO_Port, GPIO_RFM_TX_RST_Pin, GPIO_PIN_SET);

  /*Configure GPIO pin Output Level */
  HAL_GPIO_WritePin(SPI_RFM_TX_CS_GPIO_Port, SPI_RFM_TX_CS_Pin, GPIO_PIN_SET);

  /*Configure GPIO pin Output Level */
  HAL_GPIO_WritePin(GPIO_RFM_RX_RST_GPIO_Port, GPIO_RFM_RX_RST_Pin, GPIO_PIN_SET);

  /*Configure GPIO pin Output Level */
  HAL_GPIO_WritePin(BUZZER_GPIO_Port, BUZZER_Pin, GPIO_PIN_RESET);
  HAL_GPIO_WritePin(SPI_RFM_RX_CS_GPIO_Port, SPI_RFM_RX_CS_Pin, GPIO_PIN_SET);

  /*Configure GPIO pin Output Level */
  HAL_GPIO_WritePin(BMP_CS1_GPIO_Port, BMP_CS1_Pin, GPIO_PIN_SET);

  /*Configure GPIO pin Output Level */
  HAL_GPIO_WritePin(BMP_CS4_GPIO_Port, BMP_CS4_Pin, GPIO_PIN_SET);

  /*Configure GPIO pin Output Level */
  HAL_GPIO_WritePin(GPIOE, PYROS_4_Pin|PYROS_3_Pin, GPIO_PIN_RESET);
  HAL_GPIO_WritePin(GPIOE, BMP_CS3_Pin|ICM_CS1_Pin|ICM_CS4_Pin, GPIO_PIN_SET);

  /*Configure GPIO pin Output Level */
  HAL_GPIO_WritePin(GPIOD, ICM_CS2_Pin|ICM_CS3_Pin, GPIO_PIN_SET);

  /*Configure GPIO pin Output Level */
  HAL_GPIO_WritePin(GNSS_RST_GPIO_Port, GNSS_RST_Pin, GPIO_PIN_SET);

  /*Configure GPIO pins : PYROS_2_Pin PYROS_1_Pin BMP_CS2_Pin */
  GPIO_InitStruct.Pin = PYROS_2_Pin|PYROS_1_Pin|BMP_CS2_Pin;
  GPIO_InitStruct.Mode = GPIO_MODE_OUTPUT_PP;
  GPIO_InitStruct.Pull = GPIO_NOPULL;
  GPIO_InitStruct.Speed = GPIO_SPEED_FREQ_LOW;
  HAL_GPIO_Init(GPIOC, &GPIO_InitStruct);

  /*Configure GPIO pin : PYROS_Active_Pin */
  GPIO_InitStruct.Pin = PYROS_Active_Pin;
  GPIO_InitStruct.Mode = GPIO_MODE_OUTPUT_PP;
  GPIO_InitStruct.Pull = GPIO_PULLDOWN;
  GPIO_InitStruct.Speed = GPIO_SPEED_FREQ_LOW;
  HAL_GPIO_Init(PYROS_Active_GPIO_Port, &GPIO_InitStruct);

  /*Configure GPIO pins : GPIO_RFM_TX_RST_Pin SPI_RFM_TX_CS_Pin */
  GPIO_InitStruct.Pin = GPIO_RFM_TX_RST_Pin|SPI_RFM_TX_CS_Pin;
  GPIO_InitStruct.Mode = GPIO_MODE_OUTPUT_PP;
  GPIO_InitStruct.Pull = GPIO_NOPULL;
  GPIO_InitStruct.Speed = GPIO_SPEED_FREQ_LOW;
  HAL_GPIO_Init(GPIOA, &GPIO_InitStruct);

  /*Configure GPIO pin : GPIO_RFM_TX_INT0_Pin */
  GPIO_InitStruct.Pin = GPIO_RFM_TX_INT0_Pin;
  GPIO_InitStruct.Mode = GPIO_MODE_INPUT;
  GPIO_InitStruct.Pull = GPIO_NOPULL;
  HAL_GPIO_Init(GPIO_RFM_TX_INT0_GPIO_Port, &GPIO_InitStruct);

  /*Configure GPIO pins : GPIO_RFM_RX_RST_Pin SPI_RFM_RX_CS_Pin BUZZER_Pin */
  GPIO_InitStruct.Pin = GPIO_RFM_RX_RST_Pin|SPI_RFM_RX_CS_Pin|BUZZER_Pin;
  GPIO_InitStruct.Mode = GPIO_MODE_OUTPUT_PP;
  GPIO_InitStruct.Pull = GPIO_NOPULL;
  GPIO_InitStruct.Speed = GPIO_SPEED_FREQ_LOW;
  HAL_GPIO_Init(GPIOB, &GPIO_InitStruct);

  /*Configure GPIO pin : GPIO_RFM_RX_INT0_Pin */
  GPIO_InitStruct.Pin = GPIO_RFM_RX_INT0_Pin;
  GPIO_InitStruct.Mode = GPIO_MODE_INPUT;
  GPIO_InitStruct.Pull = GPIO_NOPULL;
  HAL_GPIO_Init(GPIO_RFM_RX_INT0_GPIO_Port, &GPIO_InitStruct);

  /*Configure GPIO pin : BMP_CS1_Pin */
  GPIO_InitStruct.Pin = BMP_CS1_Pin;
  GPIO_InitStruct.Mode = GPIO_MODE_OUTPUT_PP;
  GPIO_InitStruct.Pull = GPIO_NOPULL;
  GPIO_InitStruct.Speed = GPIO_SPEED_FREQ_LOW;
  HAL_GPIO_Init(BMP_CS1_GPIO_Port, &GPIO_InitStruct);

  /*Configure GPIO pins : BMP_CS4_Pin GNSS_RST_Pin */
  GPIO_InitStruct.Pin = BMP_CS4_Pin|GNSS_RST_Pin;
  GPIO_InitStruct.Mode = GPIO_MODE_OUTPUT_PP;
  GPIO_InitStruct.Pull = GPIO_NOPULL;
  GPIO_InitStruct.Speed = GPIO_SPEED_FREQ_LOW;
  HAL_GPIO_Init(GPIOG, &GPIO_InitStruct);

  /*Configure GPIO pins : BMP_CS3_Pin ICM_CS1_Pin ICM_CS4_Pin PYROS_4_Pin
                           PYROS_3_Pin */
  GPIO_InitStruct.Pin = BMP_CS3_Pin|ICM_CS1_Pin|ICM_CS4_Pin|PYROS_4_Pin
                          |PYROS_3_Pin;
  GPIO_InitStruct.Mode = GPIO_MODE_OUTPUT_PP;
  GPIO_InitStruct.Pull = GPIO_NOPULL;
  GPIO_InitStruct.Speed = GPIO_SPEED_FREQ_LOW;
  HAL_GPIO_Init(GPIOE, &GPIO_InitStruct);

  /*Configure GPIO pins : ICM_INT3_Pin ICM_INT2_Pin ICM_INT1_Pin ICM_INT4_Pin */
  GPIO_InitStruct.Pin = ICM_INT3_Pin|ICM_INT2_Pin|ICM_INT1_Pin|ICM_INT4_Pin;
  GPIO_InitStruct.Mode = GPIO_MODE_IT_RISING;
  GPIO_InitStruct.Pull = GPIO_NOPULL;
  HAL_GPIO_Init(GPIOE, &GPIO_InitStruct);

  /*Configure GPIO pins : ICM_CS2_Pin ICM_CS3_Pin */
  GPIO_InitStruct.Pin = ICM_CS2_Pin|ICM_CS3_Pin;
  GPIO_InitStruct.Mode = GPIO_MODE_OUTPUT_PP;
  GPIO_InitStruct.Pull = GPIO_NOPULL;
  GPIO_InitStruct.Speed = GPIO_SPEED_FREQ_LOW;
  HAL_GPIO_Init(GPIOD, &GPIO_InitStruct);

  /* EXTI interrupt init*/
  HAL_NVIC_SetPriority(ICM_INT3_EXTI_IRQn, 5, 0);
  HAL_NVIC_EnableIRQ(ICM_INT3_EXTI_IRQn);

  /* USER CODE BEGIN MX_GPIO_Init_2 */
  /* CS lines must be deasserted (HIGH) after GPIO init to prevent bus contention */
  HAL_GPIO_WritePin(GPIOE, BMP_CS3_Pin|ICM_CS1_Pin|ICM_CS4_Pin, GPIO_PIN_SET);
  HAL_GPIO_WritePin(BMP_CS1_GPIO_Port, BMP_CS1_Pin, GPIO_PIN_SET);
  HAL_GPIO_WritePin(GPIOD, ICM_CS2_Pin|ICM_CS3_Pin, GPIO_PIN_SET);
  HAL_GPIO_WritePin(BMP_CS2_GPIO_Port, BMP_CS2_Pin, GPIO_PIN_SET);
  HAL_GPIO_WritePin(BMP_CS4_GPIO_Port, BMP_CS4_Pin, GPIO_PIN_SET);
  /* USER CODE END MX_GPIO_Init_2 */
}

 /* MPU Configuration */

void MPU_Config(void)
{
  MPU_Region_InitTypeDef MPU_InitStruct = {0};

  /* Disables the MPU */
  HAL_MPU_Disable();

  /** Initializes and configures the Region and the memory to be protected
  */
  MPU_InitStruct.Enable = MPU_REGION_ENABLE;
  MPU_InitStruct.Number = MPU_REGION_NUMBER0;
  MPU_InitStruct.BaseAddress = 0x0;
  MPU_InitStruct.Size = MPU_REGION_SIZE_4GB;
  MPU_InitStruct.SubRegionDisable = 0x87;
  MPU_InitStruct.TypeExtField = MPU_TEX_LEVEL0;
  MPU_InitStruct.AccessPermission = MPU_REGION_NO_ACCESS;
  MPU_InitStruct.DisableExec = MPU_INSTRUCTION_ACCESS_DISABLE;
  MPU_InitStruct.IsShareable = MPU_ACCESS_SHAREABLE;
  MPU_InitStruct.IsCacheable = MPU_ACCESS_NOT_CACHEABLE;
  MPU_InitStruct.IsBufferable = MPU_ACCESS_NOT_BUFFERABLE;

  HAL_MPU_ConfigRegion(&MPU_InitStruct);
  /* Enables the MPU */
  HAL_MPU_Enable(MPU_PRIVILEGED_DEFAULT);

}

void Error_Handler(void)
{
  __disable_irq();
  while (1)
  {
  }
}
#ifdef USE_FULL_ASSERT
/**
  * @brief  Reports the name of the source file and the source line number
  *         where the assert_param error has occurred.
  * @param  file: pointer to the source file name
  * @param  line: assert_param error line source number
  * @retval None
  */
void assert_failed(uint8_t *file, uint32_t line)
{
  /* USER CODE BEGIN 6 */
  /* User can add his own implementation to report the file name and line number,
     ex: app_printf("Wrong parameters value: file %s on line %d\r\n", file, line) */
  /* USER CODE END 6 */
}
#endif /* USE_FULL_ASSERT */
